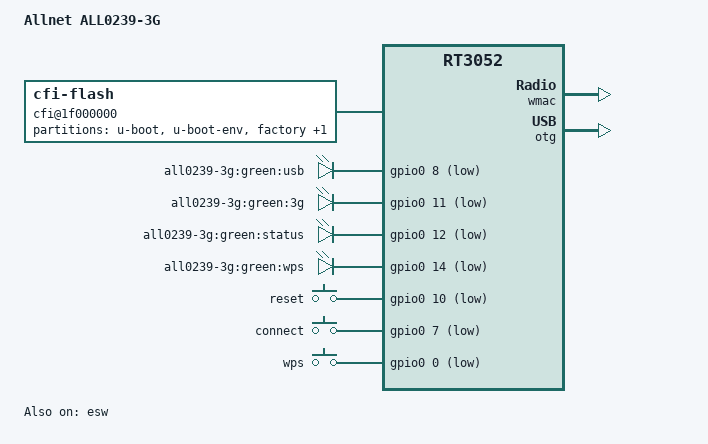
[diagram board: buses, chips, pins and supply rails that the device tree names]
/dts-v1/;

#include "rt3050.dtsi"

#include <dt-bindings/gpio/gpio.h>
#include <dt-bindings/input/input.h>

/ {
	compatible = "allnet,all0239-3g", "ralink,rt3052-soc";
	model = "Allnet ALL0239-3G";

	aliases {
		led-status = &led_status;
	};


	cfi@1f000000 {
		compatible = "cfi-flash";
		reg = <0x1f000000 0x800000>;
		bank-width = <2>;
		device-width = <2>;

		partitions {
			compatible = "fixed-partitions";
			#address-cells = <1>;
			#size-cells = <1>;

			partition@0 {
				label = "u-boot";
				reg = <0x0 0x30000>;
				read-only;
			};

			partition@30000 {
				label = "u-boot-env";
				reg = <0x30000 0x10000>;
				read-only;
			};

			factory: partition@40000 {
				label = "factory";
				reg = <0x40000 0x10000>;
				read-only;
			};

			partition@50000 {
				label = "firmware";
				reg = <0x50000 0x7b0000>;
			};
		};
	};

	gpio-leds {
		compatible = "gpio-leds";

		usb {
			label = "all0239-3g:green:usb";
			gpios = <&gpio0 8 GPIO_ACTIVE_LOW>;
		};

		3g {
			label = "all0239-3g:green:3g";
			gpios = <&gpio0 11 GPIO_ACTIVE_LOW>;
		};

		led_status: status {
			label = "all0239-3g:green:status";
			gpios = <&gpio0 12 GPIO_ACTIVE_LOW>;
		};

		wps {
			label = "all0239-3g:green:wps";
			gpios = <&gpio0 14 GPIO_ACTIVE_LOW>;
		};
	};

	gpio-keys-polled {
		compatible = "gpio-keys-polled";
		poll-interval = <20>;

		reset {
			label = "reset";
			gpios = <&gpio0 10 GPIO_ACTIVE_LOW>;
			linux,code = <KEY_RESTART>;
		};

		connect {
			label = "connect";
			gpios = <&gpio0 7 GPIO_ACTIVE_LOW>;
			linux,code = <KEY_CONNECT>;
		};

		wps {
			label = "wps";
			gpios = <&gpio0 0 GPIO_ACTIVE_LOW>;
			linux,code = <KEY_WPS_BUTTON>;
		};
	};
};

&pinctrl {
	state_default: pinctrl0 {
		gpio {
			ralink,group = "i2c", "jtag", "rgmii", "mdio", "uartf";
			ralink,function = "gpio";
		};
	};
};

&ethernet {
	mtd-mac-address = <&factory 0x28>;
};

&esw {
	status = "okay";
	mediatek,portmap = <0x3e>;
};

&wmac {
	ralink,mtd-eeprom = <&factory 0>;
};

&otg {
	status = "okay";
};
